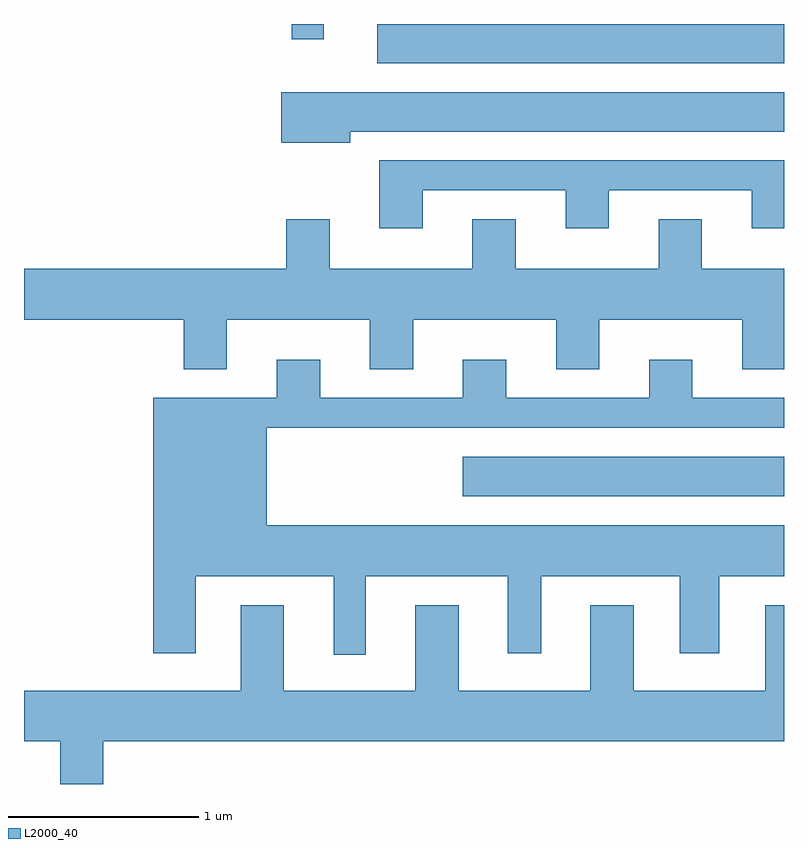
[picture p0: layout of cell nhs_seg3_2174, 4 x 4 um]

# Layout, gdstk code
import gdstk
lib = gdstk.Library(unit=1e-6, precision=1e-09)
def R(c, l, rs):  # rectangles x0, y0, x1, y1
    for r in rs: c.add(gdstk.rectangle(r[:2], r[2:], *l))
def P(c, l, *ps):  # polygons
    for p in ps: c.add(gdstk.Polygon(p, *l))
L2000_40 = (2000, 40)

nhs_seg3_2174 = lib.new_cell('nhs_seg3_2174')
R(nhs_seg3_2174, L2000_40, [(249.921,1249.406,251.611,1249.614), (249.471,1251.686,251.611,1251.892), (249.021,1251.813,249.189,1251.892)])
P(nhs_seg3_2174, L2000_40, [(249.329,1251.326),(251.611,1251.326),(251.611,1251.534),(248.966,1251.534),(248.966,1251.266),(249.329,1251.266)],
  [(249.709,1251.016),(250.461,1251.016),(250.461,1250.816),(250.689,1250.816),(250.689,1251.016),(251.441,1251.016),(251.441,1250.816),(251.611,1250.816),(251.611,1251.174),(249.481,1251.174),(249.481,1250.816),(249.709,1250.816)],
  [(249.219,1250.864),(248.991,1250.864),(248.991,1250.604),(247.611,1250.604),(247.611,1250.336),(248.451,1250.336),(248.451,1250.076),(248.679,1250.076),(248.679,1250.336),(249.431,1250.336),(249.431,1250.076),(249.659,1250.076),(249.659,1250.336),(250.411,1250.336),(250.411,1250.076),(250.639,1250.076),(250.639,1250.336),(251.391,1250.336),(251.391,1250.076),(251.611,1250.076),(251.611,1250.604),(251.179,1250.604),(251.179,1250.864),(250.951,1250.864),(250.951,1250.604),(250.199,1250.604),(250.199,1250.864),(249.971,1250.864),(249.971,1250.604),(249.219,1250.604)],
  [(249.409,1248.986),(250.156,1248.986),(250.156,1248.581),(250.334,1248.581),(250.334,1248.986),(251.061,1248.986),(251.061,1248.581),(251.269,1248.581),(251.269,1248.986),(251.611,1248.986),(251.611,1249.254),(248.889,1249.254),(248.889,1249.766),(251.611,1249.766),(251.611,1249.924),(251.129,1249.924),(251.129,1250.124),(250.901,1250.124),(250.901,1249.924),(250.149,1249.924),(250.149,1250.124),(249.921,1250.124),(249.921,1249.924),(249.169,1249.924),(249.169,1250.124),(248.941,1250.124),(248.941,1249.924),(248.291,1249.924),(248.291,1248.581),(248.514,1248.581),(248.514,1248.986),(249.241,1248.986),(249.241,1248.573),(249.409,1248.573)],
  [(248.029,1248.116),(251.611,1248.116),(251.611,1248.834),(251.511,1248.834),(251.511,1248.384),(250.819,1248.384),(250.819,1248.834),(250.591,1248.834),(250.591,1248.384),(249.899,1248.384),(249.899,1248.834),(249.671,1248.834),(249.671,1248.384),(248.979,1248.384),(248.979,1248.834),(248.751,1248.834),(248.751,1248.384),(247.611,1248.384),(247.611,1248.116),(247.801,1248.116),(247.801,1247.892),(248.029,1247.892)])

lib.write_gds('nhs_seg3_2174.gds')
